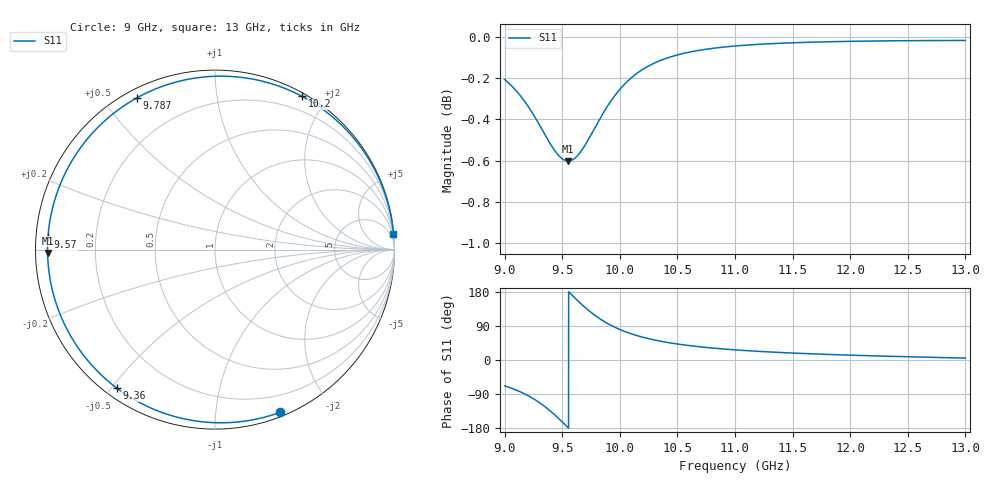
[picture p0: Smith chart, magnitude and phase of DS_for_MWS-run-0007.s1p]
! TOUCHSTONE file generated by CST DESIGN STUDIO
! Date and time: Tue Feb  4 18:06:05 2025
! Project name: C:\Work\MatlabApps\UnitCellOptimizationMatlab\CST\unitcell.cst
! Tree item: Tasks\Sweep1\SPara1\S-Parameters
! Header version: 2024
! Port assignment regex: !\s*Touchstone port\s*([0-9]+)\s*=\s*(CST MWS port|CST DES external port|CST DES block port)\s*(.+)\s* \(\"(.*)\"\)(\s*mode\s*([0-9]+))?.*
! Touchstone port assignment:
! Touchstone port 1 = CST DES external port 1 ("")
# GHz S MA R 50
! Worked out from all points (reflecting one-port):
!   4001 points, 9 GHz to 13 GHz, reference 50 ohm
!   lowest |S11| = -0.6 dB at 9.552 GHz (marker M1), VSWR 28.88, Z = 1.73 - j0.499 ohm
!   phase of S11 starts at -68 deg and turns -287 deg over the sweep
!   S11 on the Smith chart (normalised r, x): 9 GHz: 0.04, -1.48; 9.36 GHz: 0.04, -0.52; 9.57 GHz: 0.03, +0.04; 9.787 GHz: 0.03, +0.61; 10.2 GHz: 0.04, +1.72; 13 GHz: 0, +23
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9  0.9766 -68.2
9.103  0.9703 -79.6
9.214  0.9611 -95.9
9.291  0.9533 -110.2
9.36  0.9459 -125.4
9.427  0.9392 -142.5
9.465  0.9362 -153.1
9.5  0.9342 -163.3
9.552  0.9331 -178.9
9.57  0.9332 175.7
9.625  0.9353 159.3
9.685  0.94 142.4
9.736  0.9453 129.2
9.787  0.9509 117.2
9.833  0.956 107.5
9.882  0.9611 98.4
9.937  0.9662 89.4
10  0.9712 80.5
10.093  0.9771 69.8
10.195  0.982 60.5
10.335  0.9866 50.7
10.5  0.9901 42.2
10.721  0.993 34.0
11  0.9951 26.8
11.5  0.9969 18.3
12  0.9977 12.7
12.5  0.998 8.5
13  0.9982 5.1
